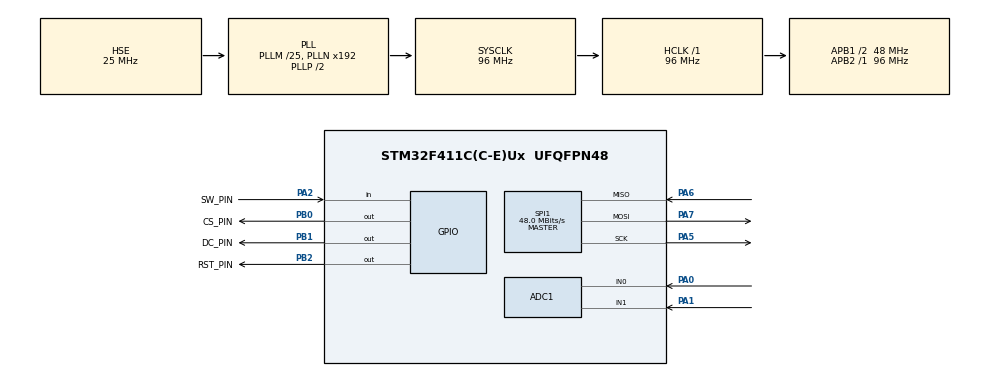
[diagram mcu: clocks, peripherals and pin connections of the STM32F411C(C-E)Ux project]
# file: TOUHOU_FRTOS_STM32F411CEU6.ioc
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ADC1.Channel-0\#ChannelRegularConversion=ADC_CHANNEL_0
ADC1.Channel-1\#ChannelRegularConversion=ADC_CHANNEL_1
ADC1.ContinuousConvMode=ENABLE
ADC1.DMAContinuousRequests=ENABLE
ADC1.NbrOfConversion=2
ADC1.NbrOfConversionFlag=1
ADC1.Rank-0\#ChannelRegularConversion=1
ADC1.Rank-1\#ChannelRegularConversion=2
ADC1.SamplingTime-0\#ChannelRegularConversion=ADC_SAMPLETIME_15CYCLES
ADC1.SamplingTime-1\#ChannelRegularConversion=ADC_SAMPLETIME_15CYCLES
ADC1.ScanConvMode=ENABLE
ADC1.master=1
Dma.ADC1.0.Direction=DMA_PERIPH_TO_MEMORY
Dma.ADC1.0.FIFOMode=DMA_FIFOMODE_DISABLE
Dma.ADC1.0.Instance=DMA2_Stream0
Dma.ADC1.0.MemDataAlignment=DMA_MDATAALIGN_HALFWORD
Dma.ADC1.0.MemInc=DMA_MINC_ENABLE
Dma.ADC1.0.Mode=DMA_CIRCULAR
Dma.ADC1.0.PeriphDataAlignment=DMA_PDATAALIGN_HALFWORD
Dma.ADC1.0.PeriphInc=DMA_PINC_DISABLE
Dma.ADC1.0.Priority=DMA_PRIORITY_LOW
Dma.Request0=ADC1
FREERTOS.Mutexes01=mutexSPI,Dynamic,NULL,Available;mutexGame,Dynamic,NULL,Available
FREERTOS.Queues01=qInput,5,uint8_t,0,Dynamic,NULL,NULL
FREERTOS.Tasks01=TaskDisplay,24,512,StartTaskDisplay,Default,NULL,Dynamic,NULL,NULL;TaskInput,24,256,StartTaskInput,Default,NULL,Dynamic,NULL,NULL;TaskGame,24,512,StartTaskGame,Default,NULL,Dynamic,NULL,NULL
FREERTOS.configUSE_NEWLIB_REENTRANT=1
Mcu.Family=STM32F4
Mcu.Name=STM32F411C(C-E)Ux
Mcu.Package=UFQFPN48
NVIC.DMA2_Stream0_IRQn=true\:5\:0\:false\:false\:true\:true\:false\:true\:true
NVIC.PriorityGroup=NVIC_PRIORITYGROUP_4
NVIC.TIM1_UP_TIM10_IRQn=true\:15\:0\:false\:false\:true\:false\:false\:true\:true
NVIC.TimeBase=TIM1_UP_TIM10_IRQn
NVIC.TimeBaseIP=TIM1
PA0-WKUP.Signal=ADCx_IN0
PA1.Signal=ADCx_IN1
PA2.GPIO_Label=SW_PIN
PA2.GPIO_PuPd=GPIO_PULLUP
PA2.Signal=GPIO_Input
PA5.Mode=Full_Duplex_Master
PA5.Signal=SPI1_SCK
PA6.Mode=Full_Duplex_Master
PA6.Signal=SPI1_MISO
PA7.Mode=Full_Duplex_Master
PA7.Signal=SPI1_MOSI
PB0.GPIO_Label=CS_PIN
PB0.Signal=GPIO_Output
PB1.GPIO_Label=DC_PIN
PB1.Signal=GPIO_Output
PB2.GPIO_Label=RST_PIN
PB2.Signal=GPIO_Output
PH0\ -\ OSC_IN.Mode=HSE-External-Oscillator
PH0\ -\ OSC_IN.Signal=RCC_OSC_IN
PH1\ -\ OSC_OUT.Mode=HSE-External-Oscillator
PH1\ -\ OSC_OUT.Signal=RCC_OSC_OUT
ProjectManager.HeapSize=0x200
ProjectManager.StackSize=0x400
ProjectManager.TargetToolchain=STM32CubeIDE
RCC.48MHZClocksFreq_Value=48000000
RCC.AHBFreq_Value=96000000
RCC.APB1CLKDivider=RCC_HCLK_DIV2
RCC.APB1Freq_Value=48000000
RCC.APB1TimFreq_Value=96000000
RCC.APB2Freq_Value=96000000
RCC.APB2TimFreq_Value=96000000
RCC.CortexFreq_Value=96000000
RCC.HCLKFreq_Value=96000000
RCC.HSE_VALUE=25000000
RCC.HSI_VALUE=16000000
RCC.LSE_VALUE=32768
RCC.PLLM=25
RCC.PLLSourceVirtual=RCC_PLLSOURCE_HSE
RCC.SYSCLKFreq_VALUE=96000000
RCC.SYSCLKSource=RCC_SYSCLKSOURCE_PLLCLK
RCC.VCOOutputFreq_Value=192000000
SH.ADCx_IN0.0=ADC1_IN0,IN0
SH.ADCx_IN1.0=ADC1_IN1,IN1
SPI1.BaudRatePrescaler=SPI_BAUDRATEPRESCALER_2
SPI1.CalculateBaudRate=48.0 MBits/s
SPI1.Direction=SPI_DIRECTION_2LINES
SPI1.Mode=SPI_MODE_MASTER
SPI1.VirtualType=VM_MASTER
VP_FREERTOS_VS_CMSIS_V2.Mode=CMSIS_V2
VP_SYS_VS_tim1.Mode=TIM1
board=custom

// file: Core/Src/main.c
/* USER CODE BEGIN Header */
/**
  ******************************************************************************
  * @file           : main.c
  * @brief          : Main program body
  ******************************************************************************
  * @attention
  *
  * Copyright (c) 2026 STMicroelectronics.
  * All rights reserved.
  *
  * This software is licensed under terms that can be found in the LICENSE file
  * in the root directory of this software component.
  * If no LICENSE file comes with this software, it is provided AS-IS.
  *
  ******************************************************************************
  */
/* USER CODE END Header */
#include "main.h"
#include "cmsis_os.h"

/* USER CODE BEGIN Includes */
#include "display.h"
#include "game_types.h"
#include "player.h"
#include "input.h"
#include "renderer.h"
#include "time.h"
#include "enemy_windmill.h"
#include "game_state.h"
#include "enemy_bullets.h"
#include "backgrounds.h"
#include "background.h"
#include "game_difficulty.h"
#include "wave_manager.h"
#include "level1.h"
#include "sprites.h"
#include "boss1.h"
#include <string.h>
/* USER CODE END Includes */

/* USER CODE BEGIN PD */
#define START_X    40
#define START_Y    40
#define OPT_X      50
#define OPT_EASY_Y 20
#define OPT_MED_Y  42
#define OPT_LUN_Y  66
#define CURSOR_X   40
/* USER CODE END PD */

ADC_HandleTypeDef hadc1;
DMA_HandleTypeDef hdma_adc1;

SPI_HandleTypeDef hspi1;

/* Definitions for TaskDisplay */
osThreadId_t TaskDisplayHandle;
const osThreadAttr_t TaskDisplay_attributes = {
  .name = "TaskDisplay",
  .stack_size = 1024 * 4,
  .priority = (osPriority_t) osPriorityNormal,
};
/* Definitions for TaskInput */
osThreadId_t TaskInputHandle;
const osThreadAttr_t TaskInput_attributes = {
  .name = "TaskInput",
  .stack_size = 256 * 4,
  .priority = (osPriority_t) osPriorityNormal,
};
/* Definitions for TaskGame */
osThreadId_t TaskGameHandle;
const osThreadAttr_t TaskGame_attributes = {
  .name = "TaskGame",
  .stack_size = 512 * 4,
  .priority = (osPriority_t) osPriorityNormal,
};
/* Definitions for qInput */
osMessageQueueId_t qInputHandle;
const osMessageQueueAttr_t qInput_attributes = {
  .name = "qInput"
};
/* Definitions for mutexSPI */
osMutexId_t mutexSPIHandle;
const osMutexAttr_t mutexSPI_attributes = {
  .name = "mutexSPI"
};
/* Definitions for mutexGame */
osMutexId_t mutexGameHandle;
const osMutexAttr_t mutexGame_attributes = {
  .name = "mutexGame"
};
/* USER CODE BEGIN PV */
GameState g_state = STATE_MENU;
GameState prev_state = (GameState)-1;
volatile uint16_t adc_buf[2] = {0};
Player g_player;
Enemy g_enemies[MAX_ENEMIES];
Bullet g_enemy_bullets[MAX_ENEMY_BULLETS];
GameDifficulty g_difficulty = DIFFICULTY_EASY;
int g_menu_state  = 0;
int g_menu_cursor = 0;
/* USER CODE END PV */

void SystemClock_Config(void);
static void MX_GPIO_Init(void);
static void MX_DMA_Init(void);
static void MX_ADC1_Init(void);
static void MX_SPI1_Init(void);
void StartTaskDisplay(void *argument);
void StartTaskInput(void *argument);
void StartTaskGame(void *argument);

int main(void)
{

  /* MCU Configuration--------------------------------------------------------*/

  /* Reset of all peripherals, Initializes the Flash interface and the Systick. */
  HAL_Init();

  /* Configure the system clock */
  SystemClock_Config();

  /* Initialize all configured peripherals */
  MX_GPIO_Init();
  MX_DMA_Init();
  MX_ADC1_Init();
  MX_SPI1_Init();
  /* USER CODE BEGIN 2 */
  Display_Init();
  Display_FillBlocking();

  __HAL_ADC_ENABLE(&hadc1);
  HAL_Delay(2);
  __HAL_ADC_CLEAR_FLAG(&hadc1, ADC_FLAG_EOC | ADC_FLAG_OVR);

  hdma_adc1.Instance->CR &= ~DMA_SxCR_EN;
  while (hdma_adc1.Instance->CR & DMA_SxCR_EN);
  HAL_DMA_Start(&hdma_adc1, (uint32_t)&ADC1->DR, (uint32_t)adc_buf, 2);

  ADC1->CR2 |= ADC_CR2_DMA;
  ADC1->CR2 |= ADC_CR2_SWSTART;
  /* USER CODE END 2 */

  /* Init scheduler */
  osKernelInitialize();
  /* Create the mutex(es) */
  /* creation of mutexSPI */
  mutexSPIHandle = osMutexNew(&mutexSPI_attributes);

  /* creation of mutexGame */
  mutexGameHandle = osMutexNew(&mutexGame_attributes);

  /* Create the queue(s) */
  /* creation of qInput */
  qInputHandle = osMessageQueueNew (5, sizeof(uint8_t), &qInput_attributes);

  /* USER CODE BEGIN RTOS_QUEUES */
  qInputHandle = osMessageQueueNew(1, sizeof(InputState_t), &qInput_attributes); // sobreescrevendo o correto
  /* USER CODE END RTOS_QUEUES */

  /* Create the thread(s) */
  /* creation of TaskDisplay */
  TaskDisplayHandle = osThreadNew(StartTaskDisplay, NULL, &TaskDisplay_attributes);

  /* creation of TaskInput */
  TaskInputHandle = osThreadNew(StartTaskInput, NULL, &TaskInput_attributes);

  /* creation of TaskGame */
  TaskGameHandle = osThreadNew(StartTaskGame, NULL, &TaskGame_attributes);

  /* Start scheduler */
  osKernelStart();

  /* We should never get here as control is now taken by the scheduler */

  /* Infinite loop */
  while (1)
  {

  }
}

void SystemClock_Config(void)
{
  RCC_OscInitTypeDef RCC_OscInitStruct = {0};
  RCC_ClkInitTypeDef RCC_ClkInitStruct = {0};

  /** Configure the main internal regulator output voltage
  */
  __HAL_RCC_PWR_CLK_ENABLE();
  __HAL_PWR_VOLTAGESCALING_CONFIG(PWR_REGULATOR_VOLTAGE_SCALE1);

  /** Initializes the RCC Oscillators according to the specified parameters
  * in the RCC_OscInitTypeDef structure.
  */
  RCC_OscInitStruct.OscillatorType = RCC_OSCILLATORTYPE_HSE;
  RCC_OscInitStruct.HSEState = RCC_HSE_ON;
  RCC_OscInitStruct.PLL.PLLState = RCC_PLL_ON;
  RCC_OscInitStruct.PLL.PLLSource = RCC_PLLSOURCE_HSE;
  RCC_OscInitStruct.PLL.PLLM = 25;
  RCC_OscInitStruct.PLL.PLLN = 192;
  RCC_OscInitStruct.PLL.PLLP = RCC_PLLP_DIV2;
  RCC_OscInitStruct.PLL.PLLQ = 4;
  if (HAL_RCC_OscConfig(&RCC_OscInitStruct) != HAL_OK)
  {
    Error_Handler();
  }

  /** Initializes the CPU, AHB and APB buses clocks
  */
  RCC_ClkInitStruct.ClockType = RCC_CLOCKTYPE_HCLK|RCC_CLOCKTYPE_SYSCLK
                              |RCC_CLOCKTYPE_PCLK1|RCC_CLOCKTYPE_PCLK2;
  RCC_ClkInitStruct.SYSCLKSource = RCC_SYSCLKSOURCE_PLLCLK;
  RCC_ClkInitStruct.AHBCLKDivider = RCC_SYSCLK_DIV1;
  RCC_ClkInitStruct.APB1CLKDivider = RCC_HCLK_DIV2;
  RCC_ClkInitStruct.APB2CLKDivider = RCC_HCLK_DIV1;

  if (HAL_RCC_ClockConfig(&RCC_ClkInitStruct, FLASH_LATENCY_3) != HAL_OK)
  {
    Error_Handler();
  }
}

static void MX_ADC1_Init(void)
{

  ADC_ChannelConfTypeDef sConfig = {0};

  /** Configure the global features of the ADC (Clock, Resolution, Data Alignment and number of conversion)
  */
  hadc1.Instance = ADC1;
  hadc1.Init.ClockPrescaler = ADC_CLOCK_SYNC_PCLK_DIV4;
  hadc1.Init.Resolution = ADC_RESOLUTION_12B;
  hadc1.Init.ScanConvMode = ENABLE;
  hadc1.Init.ContinuousConvMode = ENABLE;
  hadc1.Init.DiscontinuousConvMode = DISABLE;
  hadc1.Init.ExternalTrigConvEdge = ADC_EXTERNALTRIGCONVEDGE_NONE;
  hadc1.Init.ExternalTrigConv = ADC_SOFTWARE_START;
  hadc1.Init.DataAlign = ADC_DATAALIGN_RIGHT;
  hadc1.Init.NbrOfConversion = 2;
  hadc1.Init.DMAContinuousRequests = ENABLE;
  hadc1.Init.EOCSelection = ADC_EOC_SINGLE_CONV;
  if (HAL_ADC_Init(&hadc1) != HAL_OK)
  {
    Error_Handler();
  }

  /** Configure for the selected ADC regular channel its corresponding rank in the sequencer and its sample time.
  */
  sConfig.Channel = ADC_CHANNEL_0;
  sConfig.Rank = 1;
  sConfig.SamplingTime = ADC_SAMPLETIME_15CYCLES;
  if (HAL_ADC_ConfigChannel(&hadc1, &sConfig) != HAL_OK)
  {
    Error_Handler();
  }

  /** Configure for the selected ADC regular channel its corresponding rank in the sequencer and its sample time.
  */
  sConfig.Channel = ADC_CHANNEL_1;
  sConfig.Rank = 2;
  if (HAL_ADC_ConfigChannel(&hadc1, &sConfig) != HAL_OK)
  {
    Error_Handler();
  }

}

static void MX_SPI1_Init(void)
{

  /* SPI1 parameter configuration*/
  hspi1.Instance = SPI1;
  hspi1.Init.Mode = SPI_MODE_MASTER;
  hspi1.Init.Direction = SPI_DIRECTION_2LINES;
  hspi1.Init.DataSize = SPI_DATASIZE_8BIT;
  hspi1.Init.CLKPolarity = SPI_POLARITY_LOW;
  hspi1.Init.CLKPhase = SPI_PHASE_1EDGE;
  hspi1.Init.NSS = SPI_NSS_SOFT;
  hspi1.Init.BaudRatePrescaler = SPI_BAUDRATEPRESCALER_2;
  hspi1.Init.FirstBit = SPI_FIRSTBIT_MSB;
  hspi1.Init.TIMode = SPI_TIMODE_DISABLE;
  hspi1.Init.CRCCalculation = SPI_CRCCALCULATION_DISABLE;
  hspi1.Init.CRCPolynomial = 10;
  if (HAL_SPI_Init(&hspi1) != HAL_OK)
  {
    Error_Handler();
  }

}

static void MX_DMA_Init(void)
{

  /* DMA controller clock enable */
  __HAL_RCC_DMA2_CLK_ENABLE();

  /* DMA interrupt init */
  /* DMA2_Stream0_IRQn interrupt configuration */
  HAL_NVIC_SetPriority(DMA2_Stream0_IRQn, 5, 0);
  HAL_NVIC_EnableIRQ(DMA2_Stream0_IRQn);

}

static void MX_GPIO_Init(void)
{
  GPIO_InitTypeDef GPIO_InitStruct = {0};

  /* GPIO Ports Clock Enable */
  __HAL_RCC_GPIOH_CLK_ENABLE();
  __HAL_RCC_GPIOA_CLK_ENABLE();
  __HAL_RCC_GPIOB_CLK_ENABLE();

  /*Configure GPIO pin Output Level */
  HAL_GPIO_WritePin(GPIOB, CS_PIN_Pin|DC_PIN_Pin|RST_PIN_Pin, GPIO_PIN_RESET);

  /*Configure GPIO pin : SW_PIN_Pin */
  GPIO_InitStruct.Pin = SW_PIN_Pin;
  GPIO_InitStruct.Mode = GPIO_MODE_INPUT;
  GPIO_InitStruct.Pull = GPIO_PULLUP;
  HAL_GPIO_Init(SW_PIN_GPIO_Port, &GPIO_InitStruct);

  /*Configure GPIO pins : CS_PIN_Pin DC_PIN_Pin RST_PIN_Pin */
  GPIO_InitStruct.Pin = CS_PIN_Pin|DC_PIN_Pin|RST_PIN_Pin;
  GPIO_InitStruct.Mode = GPIO_MODE_OUTPUT_PP;
  GPIO_InitStruct.Pull = GPIO_NOPULL;
  GPIO_InitStruct.Speed = GPIO_SPEED_FREQ_LOW;
  HAL_GPIO_Init(GPIOB, &GPIO_InitStruct);

}

void StartTaskDisplay(void *argument)
{
  /* USER CODE BEGIN 5 */

  static int prev_hp_w = -1;
  static int boss_bg_active = 0;

  // ── Histórico do dirty-rect — static = RAM estática, não ocupa stack ──
  static float prev_px = -1, prev_py = -1;
  static float prev_bx[MAX_PLAYER_BULLETS];
  static float prev_by[MAX_PLAYER_BULLETS];
  static int   prev_ba[MAX_PLAYER_BULLETS];

  static float prev_ex[MAX_ENEMIES];
  static float prev_ey[MAX_ENEMIES];
  static int   prev_ew[MAX_ENEMIES];
  static int   prev_eh[MAX_ENEMIES];
  static int   prev_ea[MAX_ENEMIES];
  static int   prev_ef[MAX_ENEMIES];

  static float prev_ebx[MAX_ENEMY_BULLETS];
  static float prev_eby[MAX_ENEMY_BULLETS];
  static int   prev_eba[MAX_ENEMY_BULLETS];
  static int   prev_ebw[MAX_ENEMY_BULLETS];
  static int   prev_ebh[MAX_ENEMY_BULLETS];

  static GameState prev_state       = (GameState)-1;
  static int       prev_menu_state  = -1;
  static int       prev_menu_cursor = -1;

  // ── Snapshots — static para não ocupar stack ──────────────────────────
  static Player snap_player;
  static Enemy  snap_enemies[MAX_ENEMIES];
  static Bullet snap_enemy_bullets[MAX_ENEMY_BULLETS];
  static GameState snap_state;
  static int snap_menu_state;
  static int snap_menu_cursor;

  // Inicializa histórico
  for (int i = 0; i < MAX_PLAYER_BULLETS; i++) {
      prev_bx[i] = 0; prev_by[i] = 0; prev_ba[i] = 0;
  }
  for (int i = 0; i < MAX_ENEMIES; i++) {
      prev_ex[i] = 0; prev_ey[i] = 0;
      prev_ew[i] = 0; prev_eh[i] = 0;
      prev_ea[i] = 0; prev_ef[i] = 0;
  }
  for (int i = 0; i < MAX_ENEMY_BULLETS; i++) {
      prev_ebx[i] = 0; prev_eby[i] = 0;
      prev_eba[i] = 0; prev_ebw[i] = 0; prev_ebh[i] = 0;
  }

  for(;;)
  {
      // ── Snapshot rápido com mutex — solta antes de renderizar ─────────
      osMutexAcquire(mutexGameHandle, osWaitForever);
      memcpy(&snap_player,       &g_player,       sizeof(Player));
      memcpy(snap_enemies,        g_enemies,       sizeof(Enemy)   * MAX_ENEMIES);
      memcpy(snap_enemy_bullets,  g_enemy_bullets, sizeof(Bullet)  * MAX_ENEMY_BULLETS);
      snap_state       = g_state;
      snap_menu_state  = g_menu_state;
      snap_menu_cursor = g_menu_cursor;
      osMutexRelease(mutexGameHandle);

      // ── Renderização sem mutex de game — só segura o SPI ─────────────
      osMutexAcquire(mutexSPIHandle, osWaitForever);

      // ── Bloco 1: transição de estado ──────────────────────────────────
      if (snap_state != prev_state)
      {
          if (snap_state == STATE_MENU)
          {
              background_set(menu_bg);
              background_draw_region(0, 0, SCREEN_W, SCREEN_H);
              prev_menu_state  = -1;
              prev_menu_cursor = -1;
          }
          else if (snap_state == STATE_PLAYING)
          {
              background_set(bg3);
              background_draw_region(0, 0, SCREEN_W, SCREEN_H);
          }
          else if (snap_state == STATE_GAME_OVER)
          {
              background_set(game_over_bg);
              background_draw_region(0, 0, SCREEN_W, SCREEN_H);
          }
          prev_state = snap_state;
      }

      // ── Bloco 2: menu ─────────────────────────────────────────────────
      if (snap_state == STATE_MENU)
      {
          int menu_changed = (snap_menu_state  != prev_menu_state ||
                              snap_menu_cursor != prev_menu_cursor);

          if (menu_changed)
          {
              if (snap_menu_state == 0)
              {
                  if (prev_menu_state == 1)
                  {
                      background_draw_region(CURSOR_X, OPT_EASY_Y, select_cursor.width, select_cursor.height);
                      background_draw_region(OPT_X, OPT_EASY_Y,    text_easy.width,     text_easy.height);
                      background_draw_region(OPT_X, OPT_MED_Y,     text_medium.width,   text_medium.height);
                      background_draw_region(OPT_X, OPT_LUN_Y,     text_lunatic.width,  text_lunatic.height);
                  }
                  sprite_draw(&text_start, START_X, START_Y, 0);
              }
              else
              {
                  if (prev_menu_state == 0)
                      background_draw_region(START_X, START_Y, text_start.width, text_start.height);

                  if (prev_menu_state != 1)
                  {
                      sprite_draw(&text_easy,    OPT_X, OPT_EASY_Y, 0);
                      sprite_draw(&text_medium,  OPT_X, OPT_MED_Y,  0);
                      sprite_draw(&text_lunatic, OPT_X, OPT_LUN_Y,  0);
                  }

                  int cursor_ys[] = { OPT_EASY_Y, OPT_MED_Y, OPT_LUN_Y };

                  if (prev_menu_cursor >= 0 && prev_menu_cursor <= 2)
                      background_draw_region(CURSOR_X, cursor_ys[prev_menu_cursor],
                                             select_cursor.width, select_cursor.height);

                  sprite_draw(&select_cursor, CURSOR_X, cursor_ys[snap_menu_cursor], 0);
              }

              prev_menu_state  = snap_menu_state;
              prev_menu_cursor = snap_menu_cursor;
          }

          osMutexRelease(mutexSPIHandle);
          osDelay(8);
          continue;
      }

      if (snap_state == STATE_GAME_OVER)
      {
          osMutexRelease(mutexSPIHandle);
          osDelay(8);
          continue;
      }

      // ── Bloco 3: dirty-rect do jogo ───────────────────────────────────

      // Player
      float cur_px = snap_player.x;
      float cur_py = snap_player.y;

      if (prev_px >= 0) {
          if ((int)prev_px != (int)cur_px || (int)prev_py != (int)cur_py)
              background_draw_region(prev_px - 6, prev_py - 10, 12, 21);
      }

      // Bullets do player
      for (int i = 0; i < MAX_PLAYER_BULLETS; i++) {
          float cur_bx = snap_player.bullets[i].def.hitbox.x;
          float cur_by = snap_player.bullets[i].def.hitbox.y;
          int   cur_ba = snap_player.bullets[i].active;

          if (prev_ba[i]) {
              if (!cur_ba || (int)prev_bx[i] != (int)cur_bx || (int)prev_by[i] != (int)cur_by)
                  background_draw_region(
                      prev_bx[i] - player_bullet.width  / 2,
                      prev_by[i] - player_bullet.height / 2,
                      player_bullet.width,
                      player_bullet.height);
          }

          prev_bx[i] = cur_bx;
          prev_by[i] = cur_by;
          prev_ba[i] = cur_ba;
      }

      // Inimigos
      for (int i = 0; i < MAX_ENEMIES; i++) {
          if (prev_ea[i] && (!snap_enemies[i].active ||
              (int)prev_ex[i] != (int)snap_enemies[i].x ||
              (int)prev_ey[i] != (int)snap_enemies[i].y ||
              prev_ef[i] != snap_enemies[i].anim_frame))
          {
              background_draw_region(prev_ex[i] - prev_ew[i]/2,
                                     prev_ey[i] - prev_eh[i]/2,
                                     prev_ew[i], prev_eh[i]);
          }

          if (snap_enemies[i].x + snap_enemies[i].w/2 > 0 &&
              snap_enemies[i].x - snap_enemies[i].w/2 < SCREEN_W)
          {
              prev_ex[i] = snap_enemies[i].x;
              prev_ey[i] = snap_enemies[i].y;
              prev_ew[i] = snap_enemies[i].w;
              prev_eh[i] = snap_enemies[i].h;
              prev_ef[i] = snap_enemies[i].anim_frame;
          }
          prev_ea[i] = snap_enemies[i].active;
      }

      // Bullets inimigos — apaga sempre (balas se movem todo frame)
      for (int i = 0; i < MAX_ENEMY_BULLETS; i++) {
          if (!prev_eba[i] && !snap_enemy_bullets[i].active) continue;

          if (prev_eba[i])
              background_draw_region(
                  prev_ebx[i] - prev_ebw[i] / 2,
                  prev_eby[i] - prev_ebh[i] / 2,
                  prev_ebw[i], prev_ebh[i]);

          const Sprite *spr = snap_enemy_bullets[i].def.sprite
                            ? snap_enemy_bullets[i].def.sprite
                            : &bullet_green_small;

          prev_ebx[i] = snap_enemy_bullets[i].def.hitbox.x;
          prev_eby[i] = snap_enemy_bullets[i].def.hitbox.y;
          prev_eba[i] = snap_enemy_bullets[i].active;
          prev_ebw[i] = spr->width;
          prev_ebh[i] = spr->height;
      }

      prev_px = cur_px;
      prev_py = cur_py;

      // ── Barra de vida do boss ──────────────────────────────────
      const Enemy *boss = NULL;
      for (int i = 0; i < MAX_ENEMIES; i++) {
          if (snap_enemies[i].active && snap_enemies[i].type == ENEMY_BOSS) {
              boss = &snap_enemies[i];
              break;
          }
      }

      if (boss)
      {
    	  if (!boss_bg_active)
    	  {
    	      background_set(bg4);
    	      background_draw_region(0, 0, SCREEN_W, SCREEN_H);

    	      boss_bg_active = 1;
    	  }

          int hp_w = (boss->hp * 120) / BOSS1_HP;
          if (hp_w < 0) hp_w = 0;

          renderer_draw_rect(4, 2, 120, 4, 0x202020);  // fundo
          if (hp_w > 0)
              renderer_draw_rect(4, 2, hp_w, 4, 0xFFFF00);  // vida

          prev_hp_w = hp_w;
      }
      else
      {
          if (boss_bg_active)
          {
              background_set(bg3);
              background_draw_region(0, 0, SCREEN_W, SCREEN_H);

              boss_bg_active = 0;
          }

          if (prev_hp_w >= 0)
          {
              background_draw_region(4, 2, 120, 4);

              prev_hp_w = -1;
          }
      }

      // ── Draw ──────────────────────────────────────────────────────────
      player_draw(&snap_player);
      enemies_draw(snap_enemies, MAX_ENEMIES);
      enemy_bullets_draw(snap_enemy_bullets, MAX_ENEMY_BULLETS);

      osMutexRelease(mutexSPIHandle);
      osDelay(8);
  }
  /* USER CODE END 5 */
}

void StartTaskInput(void *argument)
{
  /* USER CODE BEGIN StartTaskInput */
  InputState_t raw;

  for(;;)
  {
    raw.joy_x = adc_buf[0];
    raw.joy_y = adc_buf[1];
    raw.sw    = HAL_GPIO_ReadPin(SW_PIN_GPIO_Port, SW_PIN_Pin);

    osMessageQueueReset(qInputHandle);
    osMessageQueuePut(qInputHandle, &raw, 0, 0);

    osDelay(16); // ~60Hz
  }
  /* USER CODE END StartTaskInput */
}

void StartTaskGame(void *argument)
{
  /* USER CODE BEGIN StartTaskGame */
  Input_State input = {0};
  uint32_t last = time_get_ms();

  game_reset();

  int input_cooldown = 0;

  for(;;)
  {
    uint32_t now   = time_get_ms();
    float    delta = (now - last) / 1000.0f;
    last = now;

    // Limita delta para evitar saltos grandes se a task atrasar
    if (delta > 0.05f) delta = 0.05f;

    input_update(&input);

    if (input_cooldown > 0)
    {
        input_cooldown--;
        // zera os inputs para não vazar para o próximo estado
        input.click = 0;
        input.left = input.right = input.up = input.down = 0;
    }

    switch (g_state)
    {
    	case STATE_MENU:
    		if (g_menu_state == 0)
        	{
        		if (input.click)
            	{
            		g_menu_state  = 1;
                	g_menu_cursor = 0;
                	input_cooldown = 10;
            	}
        	}
        	else
        	{
        		if (input.up && g_menu_cursor > 0)
            	{
            		g_menu_cursor--;
                	input_cooldown = 8;
            	}
            	else if (input.down && g_menu_cursor < 2)
            	{
                	g_menu_cursor++;
                	input_cooldown = 8;
            	}
            	else if (input.click)
            	{
                	g_difficulty  = (GameDifficulty)g_menu_cursor;
                	g_menu_state  = 0;   // reseta para próxima vez
                	g_menu_cursor = 0;
                	game_reset();
                	g_state       = STATE_PLAYING;
                	input_cooldown = 10;
            }
        	}
        	break;

    	case STATE_PLAYING:
    	    osMutexAcquire(mutexGameHandle, osWaitForever);
    	    player_update(&g_player, &input, delta);
    	    enemies_update(g_enemies, MAX_ENEMIES, &g_player, delta);
    	    enemy_bullets_update(g_enemy_bullets, MAX_ENEMY_BULLETS, delta);

    	    if (wave_manager_update(g_enemies, MAX_ENEMIES, delta))
    	        g_state = STATE_WIN;  // todos os eventos disparados

    	    if (enemy_bullets_check_player(g_enemy_bullets, MAX_ENEMY_BULLETS, &g_player))
    	        g_state = STATE_GAME_OVER;

    	    if (input.click)
    	    {
    	    	g_state = STATE_MENU;
    	    	input_cooldown = 10;
    	    }

    	    osMutexRelease(mutexGameHandle);
    	    break;

        case STATE_GAME_OVER:
        	if (input.click)
        	{
        		g_state = STATE_MENU;
        		input_cooldown = 10;
        	}
        	break;

        case STATE_WIN:
    		g_state = STATE_MENU;
            break;
    }

    osDelay(16);
  }
  /* USER CODE END StartTaskGame */
}

void HAL_TIM_PeriodElapsedCallback(TIM_HandleTypeDef *htim)
{
  if (htim->Instance == TIM1)
  {
    HAL_IncTick();
  }
}

void Error_Handler(void)
{
  __disable_irq();
  while (1)
  {
  }
}
